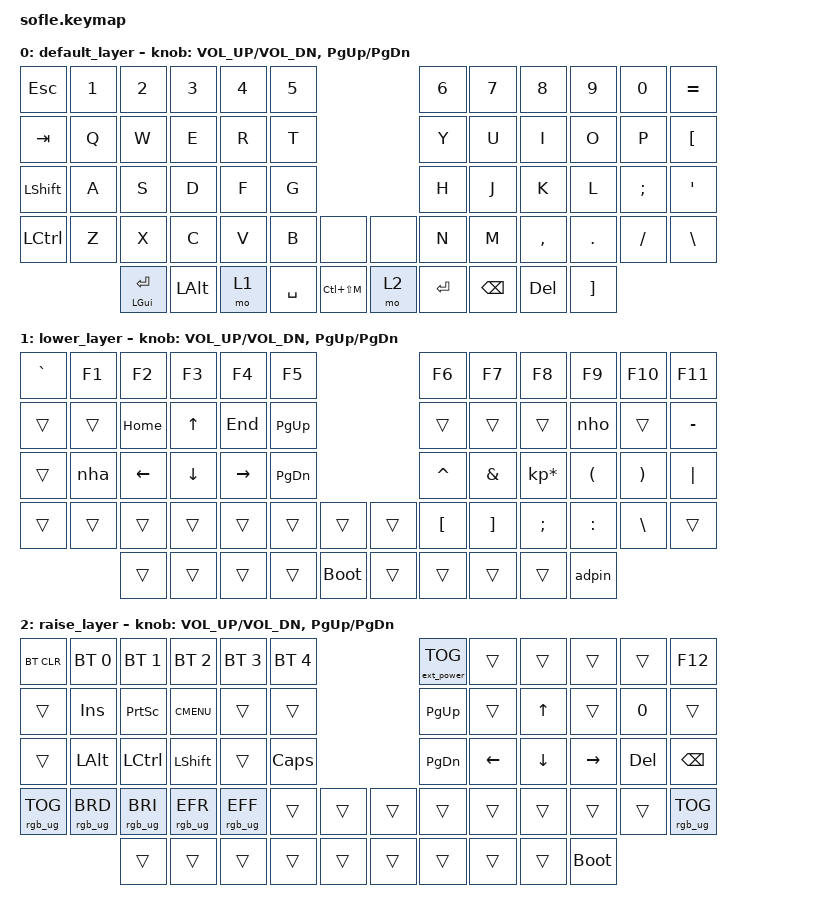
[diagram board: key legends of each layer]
/*
 * Copyright (c) 2020 The ZMK Contributors
 *
 * SPDX-License-Identifier: MIT
 */
/*
 * Temporarily here because nice nano v2 spi is not defined on ZMK Yet
 * Source: https://github.com/zmkfirmware/zmk/blob/main/app/boards/shields/reviung41/boards/nice_nano.overlay
 * GitHub Issue: https://github.com/zmkfirmware/zmk/issues/885
 */

#include <dt-bindings/led/led.h>
#include <behaviors.dtsi>
#include <dt-bindings/zmk/bt.h>
#include <dt-bindings/zmk/ext_power.h>
#include <dt-bindings/zmk/keys.h>
#include <dt-bindings/zmk/rgb.h>

&pinctrl {
    spi3_default: spi3_default {
        group1 { psels = <NRF_PSEL(SPIM_MOSI, 0, 8)>; };
    };

    spi3_sleep: spi3_sleep {
        group1 {
            psels = <NRF_PSEL(SPIM_MOSI, 0, 8)>;
            low-power-enable;
        };
    };
};

&spi3 {
    led_strip: ws2812@0 { chain-length = <30>; };
};

/ {
    macros {
        nha: nha {
            compatible = "zmk,behavior-macro";
            label = "NHA";
            #binding-cells = <0>;
            bindings = <&kp TILDE &kp A>;
        };

        nho: nho {
            compatible = "zmk,behavior-macro";
            label = "NHO";
            #binding-cells = <0>;
            bindings = <&kp TILDE &kp O>;
        };

        adpin: adpin {
            compatible = "zmk,behavior-macro";
            label = "ADPIN";
            #binding-cells = <0>;
            bindings = <&kp N7 &kp N9 &kp N4 &kp N5 &kp N1 &kp N7>;
        };
    };

    keymap {
        compatible = "zmk,keymap";

        default_layer {
            // ------------------------------------------------------------------------------------------------------------
            // |  `    |  1  |  2  |  3   |  4   |  5   |                         |  6   |  7    |  8    |  9   |   0   |       |
            // |  ESC  |  Q  |  W  |  E   |  R   |  T   |                         |  Y   |  U    |  I    |  O   |   P   | BKSPC |
            // |  TAB  |  A  |  S  |  D   |  F   |  G   |                         |  H   |  J    |  K    |  L   |   ;   |   '   |
            // | SHIFT |  Z  |  X  |  C   |  V   |  B   |  MUTE  |        | ExtPw |  N   |  M    |  ,    |  .   |   /   | SHIFT |
            //               | GUI | ALT  | CTRL | LOWER|  ENTER |        | SPACE | RAISE| CTRL  | ALT   | GUI  |

            bindings = <
&kp ESC     &kp N1  &kp N2        &kp N3    &kp N4  &kp N5                             &kp N6   &kp N7         &kp N8     &kp N9             &kp N0    &kp EQUAL
&kp TAB     &kp Q   &kp W         &kp E     &kp R   &kp T                              &kp Y    &kp U          &kp I      &kp O              &kp P     &kp LEFT_BRACKET
&kp LSHIFT  &kp A   &kp S         &kp D     &kp F   &kp G                              &kp H    &kp J          &kp K      &kp L              &kp SEMI  &kp SQT
&kp LCTRL   &kp Z   &kp X         &kp C     &kp V   &kp B      &none            &none  &kp N    &kp M          &kp COMMA  &kp DOT            &kp FSLH  &kp BACKSLASH
                    &mt LGUI RET  &kp LALT  &mo 1   &kp SPACE  &kp LC(LS(M))    &mo 2  &kp RET  &kp BACKSPACE  &kp DEL    &kp RIGHT_BRACKET
            >;

            sensor-bindings = <&inc_dec_kp C_VOL_UP C_VOL_DN &inc_dec_kp PG_UP PG_DN>;
        };

        lower_layer {
            // TODO: Some binds are waiting for shifted keycode support.
            // ------------------------------------------------------------------------------------------------------------
            // |       |  F1 |  F2 |  F3  |  F4  |  F5  |                   |  F6  |  F7   |  F8   |  F9  |  F10  |  F11  |
            // | `     |   1 |   2 |   3  |   4  |   5  |                   |   6  |   7   |   8   |   9  |    0  |  F12  |
            // |       |  !  |  @  |  #   |  $   |  %   |                   |  ^   |  &    |  *    |  (   |   )   |   |   |
            // |       |  =  |  -  |  +   |  {   |  }   |        |  |       |  [   |  ]    |  ;    |  :   |   \   |       |
            //               |     |      |      |      |        |  |       |      |       |       |      |

            bindings = <
&kp GRAVE  &kp F1  &kp F2    &kp F3    &kp F4     &kp F5                                &kp F6     &kp F7    &kp F8           &kp F9     &kp F10   &kp F11
&trans     &trans  &kp HOME  &kp UP    &kp END    &kp PAGE_UP                           &trans     &trans    &trans           &nho       &trans    &kp MINUS
&trans     &nha    &kp LEFT  &kp DOWN  &kp RIGHT  &kp PAGE_DOWN                         &kp CARET  &kp AMPS  &kp KP_MULTIPLY  &kp LPAR   &kp RPAR  &kp PIPE
&trans     &trans  &trans    &trans    &trans     &trans         &trans         &trans  &kp LBKT   &kp RBKT  &kp SEMI         &kp COLON  &kp BSLH  &trans
                   &trans    &trans    &trans     &trans         &bootloader    &trans  &trans     &trans    &trans           &adpin
            >;

            sensor-bindings = <&inc_dec_kp C_VOL_UP C_VOL_DN &inc_dec_kp PG_UP PG_DN>;
        };

        raise_layer {
            // ------------------------------------------------------------------------------------------------------------
            // |BTCLR| BT1  | BT2  |  BT3  |  BT4  |  BT5 |                |      |      |       |      |       |       |
            // |     | INS  | PSCR | GUI   |       |      |                | PGUP |      |   ^   |      |       |       |
            // |     | ALT  | CTRL | SHIFT |       | CAPS |                | PGDN |   <- |   v   |  ->  |  DEL  | BKSPC |
            // |     | UNDO | CUT  | COPY  | PASTE |      |      |  |      |      |      |       |      |       |       |
            //              |      |       |       |      |      |  |      |      |      |       |      |

            bindings = <
&bt BT_CLR       &bt BT_SEL 0     &bt BT_SEL 1     &bt BT_SEL 2     &bt BT_SEL 3     &bt BT_SEL 4                    &ext_power EP_TOG  &trans    &trans    &trans       &trans   &kp F12
&trans           &kp INS          &kp PSCRN        &kp K_CMENU      &trans           &trans                          &kp PG_UP          &trans    &kp UP    &trans       &kp N0   &trans
&trans           &kp LALT         &kp LCTRL        &kp LSHFT        &trans           &kp CLCK                        &kp PG_DN          &kp LEFT  &kp DOWN  &kp RIGHT    &kp DEL  &kp BSPC
&rgb_ug RGB_TOG  &rgb_ug RGB_BRD  &rgb_ug RGB_BRI  &rgb_ug RGB_EFR  &rgb_ug RGB_EFF  &trans        &trans    &trans  &trans             &trans    &trans    &trans       &trans   &rgb_ug RGB_TOG
                                  &trans           &trans           &trans           &trans        &trans    &trans  &trans             &trans    &trans    &bootloader
            >;

            sensor-bindings = <&inc_dec_kp C_VOL_UP C_VOL_DN &inc_dec_kp PG_UP PG_DN>;
        };
    };
};
